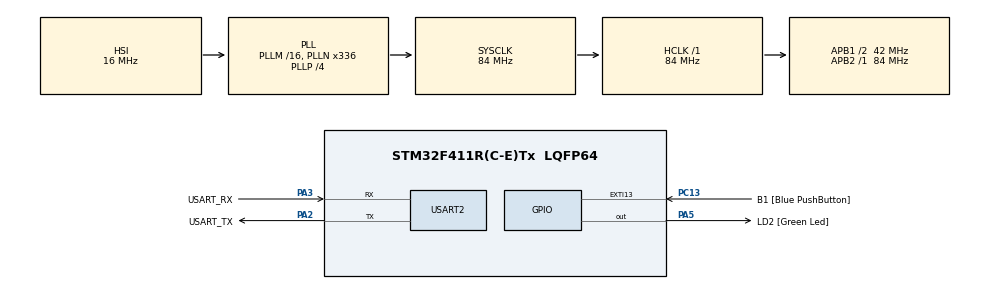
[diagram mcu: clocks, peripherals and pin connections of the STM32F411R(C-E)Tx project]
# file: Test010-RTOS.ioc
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FREERTOS.BinarySemaphores01=myBinarySem01,Dynamic,NULL
FREERTOS.Tasks01=myTask01,0,128,myStartTask01,Default,NULL,Dynamic,NULL,NULL;myTask02,-1,128,myStartTask02,Default,NULL,Dynamic,NULL,NULL;myTask03,-2,128,StartTask03,Default,NULL,Dynamic,NULL,NULL;myTask04,-3,128,StartTask04,Default,NULL,Dynamic,NULL,NULL
FREERTOS.configUSE_NEWLIB_REENTRANT=1
Mcu.Family=STM32F4
Mcu.Name=STM32F411R(C-E)Tx
Mcu.Package=LQFP64
NVIC.EXTI15_10_IRQn=true\:5\:0\:false\:false\:true\:true\:true\:true\:true
NVIC.PriorityGroup=NVIC_PRIORITYGROUP_4
NVIC.TIM1_UP_TIM10_IRQn=true\:15\:0\:false\:false\:true\:false\:false\:true\:true
NVIC.TimeBase=TIM1_UP_TIM10_IRQn
NVIC.TimeBaseIP=TIM10
PA13.GPIO_Label=TMS
PA13.Mode=Serial_Wire
PA13.Signal=SYS_JTMS-SWDIO
PA14.GPIO_Label=TCK
PA14.Mode=Serial_Wire
PA14.Signal=SYS_JTCK-SWCLK
PA2.GPIO_Label=USART_TX
PA2.Mode=Asynchronous
PA2.Signal=USART2_TX
PA3.GPIO_Label=USART_RX
PA3.Mode=Asynchronous
PA3.Signal=USART2_RX
PA5.GPIO_Label=LD2 [Green Led]
PA5.Signal=GPIO_Output
PB3.GPIO_Label=SWO
PB3.Signal=SYS_JTDO-SWO
PC13-ANTI_TAMP.GPIO_Label=B1 [Blue PushButton]
PC13-ANTI_TAMP.GPIO_ModeDefaultEXTI=GPIO_MODE_IT_FALLING
PC13-ANTI_TAMP.Signal=GPXTI13
PC14-OSC32_IN.Mode=LSE-External-Oscillator
PC14-OSC32_IN.Signal=RCC_OSC32_IN
PC15-OSC32_OUT.Mode=LSE-External-Oscillator
PC15-OSC32_OUT.Signal=RCC_OSC32_OUT
PH0\ -\ OSC_IN.Mode=HSE-External-Clock-Source
PH0\ -\ OSC_IN.Signal=RCC_OSC_IN
PH1\ -\ OSC_OUT.Mode=HSE-External-Clock-Source
PH1\ -\ OSC_OUT.Signal=RCC_OSC_OUT
ProjectManager.HeapSize=0x200
ProjectManager.StackSize=0x400
ProjectManager.TargetToolchain=STM32CubeIDE
RCC.48MHZClocksFreq_Value=84000000
RCC.AHBFreq_Value=84000000
RCC.APB1CLKDivider=RCC_HCLK_DIV2
RCC.APB1Freq_Value=42000000
RCC.APB1TimFreq_Value=84000000
RCC.APB2Freq_Value=84000000
RCC.APB2TimFreq_Value=84000000
RCC.CortexFreq_Value=84000000
RCC.FLatency-AdvancedSettings=FLASH_LATENCY_2
RCC.HCLKFreq_Value=84000000
RCC.HSE_VALUE=8000000
RCC.HSI_VALUE=16000000
RCC.PLLN=336
RCC.PLLP=RCC_PLLP_DIV4
RCC.SYSCLKFreq_VALUE=84000000
RCC.SYSCLKSource=RCC_SYSCLKSOURCE_PLLCLK
RCC.VCOOutputFreq_Value=336000000
USART2.VirtualMode=VM_ASYNC
VP_FREERTOS_VS_CMSIS_V1.Mode=CMSIS_V1
VP_SYS_VS_tim10.Mode=TIM10
board=NUCLEO-F411RE

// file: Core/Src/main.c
/* USER CODE BEGIN Header */
/**
  ******************************************************************************
  * @file           : main.c
  * @brief          : Main program body
  ******************************************************************************
  * @attention
  *
  * Copyright (c) 2025 STMicroelectronics.
  * All rights reserved.
  *
  * This software is licensed under terms that can be found in the LICENSE file
  * in the root directory of this software component.
  * If no LICENSE file comes with this software, it is provided AS-IS.
  *
  ******************************************************************************
  */
/* USER CODE END Header */
#include "main.h"
#include "cmsis_os.h"

UART_HandleTypeDef huart2;

osThreadId myTask01Handle;
osThreadId myTask02Handle;
osThreadId myTask03Handle;
osThreadId myTask04Handle;
osSemaphoreId myBinarySem01Handle;

void SystemClock_Config(void);
static void MX_GPIO_Init(void);
static void MX_USART2_UART_Init(void);
void myStartTask01(void const * argument);
void myStartTask02(void const * argument);
void StartTask03(void const * argument);
void StartTask04(void const * argument);

/* USER CODE BEGIN 0 */
volatile int Sequence = 0;
volatile int cnt = 0;

void HAL_GPIO_EXTI_Callback(uint16_t GPIO_Pin)
{
	cnt++;
	if(cnt!= 1)
		Sequence = 1;
	printf("cnt = %d\r\n",cnt);
}

/* USER CODE END 0 */

int main(void)
{

  /* MCU Configuration--------------------------------------------------------*/

  /* Reset of all peripherals, Initializes the Flash interface and the Systick. */
  HAL_Init();

  /* Configure the system clock */
  SystemClock_Config();

  /* Initialize all configured peripherals */
  MX_GPIO_Init();
  MX_USART2_UART_Init();

  /* Create the semaphores(s) */
  /* definition and creation of myBinarySem01 */
  osSemaphoreDef(myBinarySem01);
  myBinarySem01Handle = osSemaphoreCreate(osSemaphore(myBinarySem01), 1);

  /* Create the thread(s) */
  /* definition and creation of myTask01 */
  osThreadDef(myTask01, myStartTask01, osPriorityNormal, 0, 128);
  myTask01Handle = osThreadCreate(osThread(myTask01), NULL);

  /* definition and creation of myTask02 */
  osThreadDef(myTask02, myStartTask02, osPriorityBelowNormal, 0, 128);
  myTask02Handle = osThreadCreate(osThread(myTask02), NULL);

  /* definition and creation of myTask03 */
  osThreadDef(myTask03, StartTask03, osPriorityLow, 0, 128);
  myTask03Handle = osThreadCreate(osThread(myTask03), NULL);

  /* definition and creation of myTask04 */
  osThreadDef(myTask04, StartTask04, osPriorityIdle, 0, 128);
  myTask04Handle = osThreadCreate(osThread(myTask04), NULL);

  /* USER CODE BEGIN RTOS_THREADS */
  /* add threads, ... */
  ProgramStart("RTOS Test......");
  osSemaphoreRelease(myBinarySem01Handle);
  /* USER CODE END RTOS_THREADS */

  /* Start scheduler */
  osKernelStart();

  /* We should never get here as control is now taken by the scheduler */
  /* Infinite loop */
  while (1)
  {

  }
}

void SystemClock_Config(void)
{
  RCC_OscInitTypeDef RCC_OscInitStruct = {0};
  RCC_ClkInitTypeDef RCC_ClkInitStruct = {0};

  /** Configure the main internal regulator output voltage
  */
  __HAL_RCC_PWR_CLK_ENABLE();
  __HAL_PWR_VOLTAGESCALING_CONFIG(PWR_REGULATOR_VOLTAGE_SCALE1);

  /** Initializes the RCC Oscillators according to the specified parameters
  * in the RCC_OscInitTypeDef structure.
  */
  RCC_OscInitStruct.OscillatorType = RCC_OSCILLATORTYPE_HSI;
  RCC_OscInitStruct.HSIState = RCC_HSI_ON;
  RCC_OscInitStruct.HSICalibrationValue = RCC_HSICALIBRATION_DEFAULT;
  RCC_OscInitStruct.PLL.PLLState = RCC_PLL_ON;
  RCC_OscInitStruct.PLL.PLLSource = RCC_PLLSOURCE_HSI;
  RCC_OscInitStruct.PLL.PLLM = 16;
  RCC_OscInitStruct.PLL.PLLN = 336;
  RCC_OscInitStruct.PLL.PLLP = RCC_PLLP_DIV4;
  RCC_OscInitStruct.PLL.PLLQ = 4;
  if (HAL_RCC_OscConfig(&RCC_OscInitStruct) != HAL_OK)
  {
    Error_Handler();
  }

  /** Initializes the CPU, AHB and APB buses clocks
  */
  RCC_ClkInitStruct.ClockType = RCC_CLOCKTYPE_HCLK|RCC_CLOCKTYPE_SYSCLK
                              |RCC_CLOCKTYPE_PCLK1|RCC_CLOCKTYPE_PCLK2;
  RCC_ClkInitStruct.SYSCLKSource = RCC_SYSCLKSOURCE_PLLCLK;
  RCC_ClkInitStruct.AHBCLKDivider = RCC_SYSCLK_DIV1;
  RCC_ClkInitStruct.APB1CLKDivider = RCC_HCLK_DIV2;
  RCC_ClkInitStruct.APB2CLKDivider = RCC_HCLK_DIV1;

  if (HAL_RCC_ClockConfig(&RCC_ClkInitStruct, FLASH_LATENCY_2) != HAL_OK)
  {
    Error_Handler();
  }
}

static void MX_USART2_UART_Init(void)
{

  huart2.Instance = USART2;
  huart2.Init.BaudRate = 115200;
  huart2.Init.WordLength = UART_WORDLENGTH_8B;
  huart2.Init.StopBits = UART_STOPBITS_1;
  huart2.Init.Parity = UART_PARITY_NONE;
  huart2.Init.Mode = UART_MODE_TX_RX;
  huart2.Init.HwFlowCtl = UART_HWCONTROL_NONE;
  huart2.Init.OverSampling = UART_OVERSAMPLING_16;
  if (HAL_UART_Init(&huart2) != HAL_OK)
  {
    Error_Handler();
  }

}

static void MX_GPIO_Init(void)
{
  GPIO_InitTypeDef GPIO_InitStruct = {0};

  /* GPIO Ports Clock Enable */
  __HAL_RCC_GPIOC_CLK_ENABLE();
  __HAL_RCC_GPIOH_CLK_ENABLE();
  __HAL_RCC_GPIOA_CLK_ENABLE();
  __HAL_RCC_GPIOB_CLK_ENABLE();

  /*Configure GPIO pin Output Level */
  HAL_GPIO_WritePin(LD2_GPIO_Port, LD2_Pin, GPIO_PIN_RESET);

  /*Configure GPIO pin : B1_Pin */
  GPIO_InitStruct.Pin = B1_Pin;
  GPIO_InitStruct.Mode = GPIO_MODE_IT_FALLING;
  GPIO_InitStruct.Pull = GPIO_NOPULL;
  HAL_GPIO_Init(B1_GPIO_Port, &GPIO_InitStruct);

  /*Configure GPIO pin : LD2_Pin */
  GPIO_InitStruct.Pin = LD2_Pin;
  GPIO_InitStruct.Mode = GPIO_MODE_OUTPUT_PP;
  GPIO_InitStruct.Pull = GPIO_NOPULL;
  GPIO_InitStruct.Speed = GPIO_SPEED_FREQ_LOW;
  HAL_GPIO_Init(LD2_GPIO_Port, &GPIO_InitStruct);

  /* EXTI interrupt init*/
  HAL_NVIC_SetPriority(EXTI15_10_IRQn, 5, 0);
  HAL_NVIC_EnableIRQ(EXTI15_10_IRQn);

}

void myStartTask01(void const * argument)
{
  /* USER CODE BEGIN 5 */
  /* Infinite loop */
  //int n1 = 0;
  for(;;)
  {
	  if(osSemaphoreWait(myBinarySem01Handle , 0)==osOK)
	  {
		  printf("Task 01 (Normal)-------------------------\r\n");
		  osSemaphoreRelease(myBinarySem01Handle);
	  }

	  osDelay(1);

  }
  /* USER CODE END 5 */
}

void myStartTask02(void const * argument)
{
  /* USER CODE BEGIN myStartTask02 */
  /* Infinite loop */
  for(;;)
  {
    /* int d;
     * printf(" Input degree :"); scanf("%d",&d);
     */
	  if(osSemaphoreWait(myBinarySem01Handle , 0)==osOK)
	  {
		  printf("Task 02 (Below Normal)--------------------\r\n");
		  //HAL_Delay(10);
		  osSemaphoreRelease(myBinarySem01Handle);
	  }
	  osDelay(1);
  }
  /* USER CODE END myStartTask02 */
}

void StartTask03(void const * argument)
{
  /* USER CODE BEGIN StartTask03 */
  /* Infinite loop */
  for(;;)
  {
	  if(osSemaphoreWait(myBinarySem01Handle , 0)==osOK)
	  {
		  printf("Task 03 (Low)--------------------\r\n");
		  //HAL_Delay(10);
		  osSemaphoreRelease(myBinarySem01Handle);
	  }
	  osDelay(1);
  }
  /* USER CODE END StartTask03 */
}

void StartTask04(void const * argument)
{
  /* USER CODE BEGIN StartTask04 */
  /* Infinite loop */
  for(;;)
  {
	  if(osSemaphoreWait(myBinarySem01Handle , 0)==osOK)
	  {
		  printf("Task 04 (Idle)-------------\r\n");
		  //HAL_Delay(10);
		  while(!Sequence);
		  if(Sequence && (cnt != 1))
			{
				osSemaphoreRelease(myBinarySem01Handle);
				Sequence = 0;
			}

	  }
	  osDelay(1);

  }
  /* USER CODE END StartTask04 */
}

void HAL_TIM_PeriodElapsedCallback(TIM_HandleTypeDef *htim)
{
  if (htim->Instance == TIM10) {
    HAL_IncTick();
  }
}

void Error_Handler(void)
{
  __disable_irq();
  while (1)
  {
  }
}
